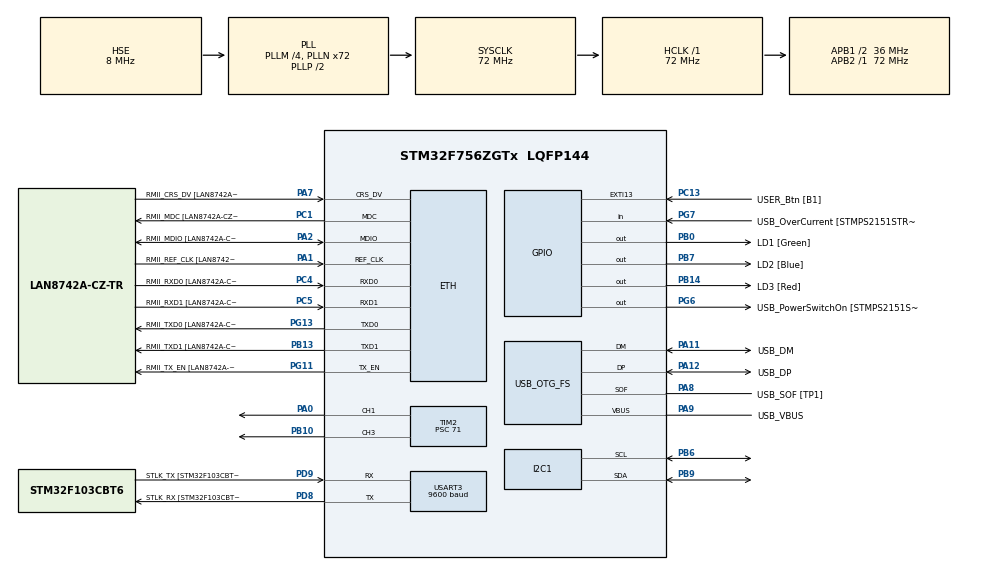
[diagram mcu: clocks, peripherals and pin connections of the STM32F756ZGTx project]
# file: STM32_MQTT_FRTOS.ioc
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CRC.CRCLength=CRC_POLYLENGTH_8B
CRC.DefaultInitValueUse=DEFAULT_INIT_VALUE_DISABLE
CRC.DefaultPolynomialUse=DEFAULT_POLYNOMIAL_DISABLE
ETH.MediaInterface=HAL_ETH_RMII_MODE
ETH.PHY_Name=LAN8742A_PHY_ADDRESS
ETH.PHY_Value=0
ETH.PhyAddress=0
FREERTOS.Tasks01=defaultTask,0,256,StartDefaultTask,Default,NULL,Dynamic,NULL,NULL
FREERTOS.Timers01=Sensors,SensorsCallback,osTimerPeriodic,Default,NULL,Dynamic,NULL
FREERTOS.configUSE_NEWLIB_REENTRANT=1
I2C1.Timing=0x00808CD2
LWIP.BSP.number=1
LWIP.CMSIS_VERSION-Enabled=1
LWIP.GATEWAY_ADDRESS=192.168.113.010
LWIP.IP_ADDRESS=192.168.113.005
LWIP.LWIP_DHCP=0
LWIP.LWIP_HTTPD=0
LWIP.LWIP_SNTP=0
LWIP.MEM_SIZE=10*1024
LWIP.NETMASK_ADDRESS=255.255.255.000
LWIP.Version=v2.1.2_Cube
LWIP0.BSP.STBoard=false
LWIP0.BSP.api=BSP_COMPONENT_DRIVER
LWIP0.BSP.component=LAN8742
LWIP0.BSP.instance=LAN8742
LWIP0.BSP.name=Driver_PHY
LWIP0.BSP.semaphore=S_LAN8742
LWIP0.BSP.solution=LAN8742
Mcu.Family=STM32F7
Mcu.Name=STM32F756ZGTx
Mcu.Package=LQFP144
NVIC.ETH_IRQn=true\:5\:0\:false\:false\:true\:true\:false\:true\:true
NVIC.PriorityGroup=NVIC_PRIORITYGROUP_4
NVIC.TIM2_IRQn=true\:5\:0\:false\:false\:true\:true\:true\:true\:true
NVIC.TIM6_DAC_IRQn=true\:15\:0\:false\:false\:true\:false\:false\:true\:true
NVIC.TimeBase=TIM6_DAC_IRQn
NVIC.TimeBaseIP=TIM6
PA0/WKUP.Signal=S_TIM2_CH1_ETR
PA1.GPIO_Label=RMII_REF_CLK [LAN8742A-CZ-TR_REFCLK0]
PA1.Mode=RMII
PA1.Signal=ETH_REF_CLK
PA10.GPIO_Label=USB_ID
PA10.Signal=USB_OTG_FS_ID
PA11.GPIO_Label=USB_DM
PA11.Mode=Device_Only
PA11.Signal=USB_OTG_FS_DM
PA12.GPIO_Label=USB_DP
PA12.Mode=Device_Only
PA12.Signal=USB_OTG_FS_DP
PA13.GPIO_Label=TMS
PA13.Mode=Serial_Wire
PA13.Signal=SYS_JTMS-SWDIO
PA14.GPIO_Label=TCK
PA14.Mode=Serial_Wire
PA14.Signal=SYS_JTCK-SWCLK
PA2.GPIO_Label=RMII_MDIO [LAN8742A-CZ-TR_MDIO]
PA2.Mode=RMII
PA2.Signal=ETH_MDIO
PA7.GPIO_Label=RMII_CRS_DV [LAN8742A-CZ-TR_CRS_DV]
PA7.Mode=RMII
PA7.Signal=ETH_CRS_DV
PA8.GPIO_Label=USB_SOF [TP1]
PA8.Mode=Activate_SOF_FS
PA8.Signal=USB_OTG_FS_SOF
PA9.GPIO_Label=USB_VBUS
PA9.Mode=Activate_VBUS
PA9.Signal=USB_OTG_FS_VBUS
PB0.GPIO_Label=LD1 [Green]
PB0.Signal=GPIO_Output
PB10.Signal=S_TIM2_CH3
PB13.GPIO_Label=RMII_TXD1 [LAN8742A-CZ-TR_TXD1]
PB13.Mode=RMII
PB13.Signal=ETH_TXD1
PB14.GPIO_Label=LD3 [Red]
PB14.Signal=GPIO_Output
PB3.GPIO_Label=SW0
PB3.Signal=SYS_JTDO-SWO
PB6.Mode=I2C
PB6.Signal=I2C1_SCL
PB7.GPIO_Label=LD2 [Blue]
PB7.Signal=GPIO_Output
PB9.Mode=I2C
PB9.Signal=I2C1_SDA
PC1.GPIO_Label=RMII_MDC [LAN8742A-CZ-TR_MDC]
PC1.Mode=RMII
PC1.Signal=ETH_MDC
PC13.GPIO_Label=USER_Btn [B1]
PC13.Signal=GPXTI13
PC14/OSC32_IN.Mode=LSE-External-Oscillator
PC14/OSC32_IN.Signal=RCC_OSC32_IN
PC15/OSC32_OUT.Mode=LSE-External-Oscillator
PC15/OSC32_OUT.Signal=RCC_OSC32_OUT
PC4.GPIO_Label=RMII_RXD0 [LAN8742A-CZ-TR_RXD0]
PC4.Mode=RMII
PC4.Signal=ETH_RXD0
PC5.GPIO_Label=RMII_RXD1 [LAN8742A-CZ-TR_RXD1]
PC5.Mode=RMII
PC5.Signal=ETH_RXD1
PD8.GPIO_Label=STLK_RX [STM32F103CBT6_PA3]
PD8.Mode=Asynchronous
PD8.Signal=USART3_TX
PD9.GPIO_Label=STLK_TX [STM32F103CBT6_PA2]
PD9.Mode=Asynchronous
PD9.Signal=USART3_RX
PG11.GPIO_Label=RMII_TX_EN [LAN8742A-CZ-TR_TXEN]
PG11.Mode=RMII
PG11.Signal=ETH_TX_EN
PG13.GPIO_Label=RMII_TXD0 [LAN8742A-CZ-TR_TXD0]
PG13.Mode=RMII
PG13.Signal=ETH_TXD0
PG6.GPIO_Label=USB_PowerSwitchOn [STMPS2151STR_EN]
PG6.Signal=GPIO_Output
PG7.GPIO_Label=USB_OverCurrent [STMPS2151STR_FAULT]
PG7.Signal=GPIO_Input
PH0/OSC_IN.GPIO_Label=MCO [STM32F103CBT6_PA8]
PH0/OSC_IN.Mode=HSE-External-Clock-Source
PH0/OSC_IN.Signal=RCC_OSC_IN
PH1/OSC_OUT.Mode=HSE-External-Clock-Source
PH1/OSC_OUT.Signal=RCC_OSC_OUT
ProjectManager.HeapSize=0x200
ProjectManager.StackSize=0x400
ProjectManager.TargetToolchain=STM32CubeIDE
RCC.48MHZClocksFreq_Value=24000000
RCC.AHBFreq_Value=72000000
RCC.APB1CLKDivider=RCC_HCLK_DIV2
RCC.APB1Freq_Value=36000000
RCC.APB1TimFreq_Value=72000000
RCC.APB2Freq_Value=72000000
RCC.APB2TimFreq_Value=72000000
RCC.CortexFreq_Value=72000000
RCC.HCLKFreq_Value=72000000
RCC.HSE_VALUE=8000000
RCC.HSI_VALUE=16000000
RCC.PLLM=4
RCC.PLLMUL=RCC_PLL_MUL9
RCC.PLLN=72
RCC.PLLQ=3
RCC.PRESCALERUSB=RCC_USBCLKSOURCE_PLL_DIV1_5
RCC.RTCClockSelection=RCC_RTCCLKSOURCE_LSE
RCC.SYSCLKFreq_VALUE=72000000
RCC.SYSCLKSource=RCC_SYSCLKSOURCE_PLLCLK
RCC.SYSCLKSourceVirtual=RCC_SYSCLKSOURCE_PLLCLK
RCC.USBFreq_Value=48000000
RCC.VCOOutputFreq_Value=144000000
SH.S_TIM2_CH1_ETR.0=TIM2_CH1,PWM Generation1 CH1
SH.S_TIM2_CH3.0=TIM2_CH3,PWM Generation3 CH3
TIM2.Channel-PWM\ Generation1\ CH1=TIM_CHANNEL_1
TIM2.Channel-PWM\ Generation3\ CH3=TIM_CHANNEL_3
TIM2.Period=19999
TIM2.Prescaler=71
TIM2.Pulse-PWM\ Generation3\ CH3=19999
USART3.BaudRate=9600
USART3.VirtualMode-Asynchronous=VM_ASYNC
USB_OTG_FS.VirtualMode=Device_Only
VP_CRC_VS_CRC.Mode=CRC_Activate
VP_FREERTOS_VS_CMSIS_V1.Mode=CMSIS_V1
VP_LWIP_VS_Enabled.Mode=Enabled
VP_RTC_VS_RTC_Activate.Mode=RTC_Enabled
VP_SYS_VS_tim6.Mode=TIM6
VP_TIM2_VS_ClockSourceINT.Mode=Internal
board=NUCLEO-F756ZG

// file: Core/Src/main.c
/* USER CODE BEGIN Header */
/**
  ******************************************************************************
  * @file           : main.c
  * @brief          : Main program body
  ******************************************************************************
  * @attention
  *
  * Copyright (c) 2023 STMicroelectronics.
  * All rights reserved.
  *
  * This software is licensed under terms that can be found in the LICENSE file
  * in the root directory of this software component.
  * If no LICENSE file comes with this software, it is provided AS-IS.
  *
  ******************************************************************************
  */
/* USER CODE END Header */
#include "main.h"
#include "cmsis_os.h"
#include "crc.h"
#include "i2c.h"
#include "lwip.h"
#include "rtc.h"
#include "tim.h"
#include "usart.h"
#include "usb_otg.h"
#include "gpio.h"

/* USER CODE BEGIN Includes */
#include "BH1750.h"
#include "BMP280.h"
/* USER CODE END Includes */

void SystemClock_Config(void);
void MX_FREERTOS_Init(void);

int main(void)
{

  /* MCU Configuration--------------------------------------------------------*/

  /* Reset of all peripherals, Initializes the Flash interface and the Systick. */
  HAL_Init();

  /* Configure the system clock */
  SystemClock_Config();

  /* Initialize all configured peripherals */
  MX_GPIO_Init();
  MX_USART3_UART_Init();
  MX_USB_OTG_FS_PCD_Init();
  MX_TIM2_Init();
  MX_CRC_Init();
  MX_I2C1_Init();
  MX_RTC_Init();

  /* Call init function for freertos objects (in freertos.c) */
  MX_FREERTOS_Init();

  /* Start scheduler */
  osKernelStart();

  /* We should never get here as control is now taken by the scheduler */
  /* Infinite loop */
  while (1)
  {

  }
}

void SystemClock_Config(void)
{
  RCC_OscInitTypeDef RCC_OscInitStruct = {0};
  RCC_ClkInitTypeDef RCC_ClkInitStruct = {0};

  /** Configure LSE Drive Capability
  */
  HAL_PWR_EnableBkUpAccess();
  __HAL_RCC_LSEDRIVE_CONFIG(RCC_LSEDRIVE_LOW);

  /** Configure the main internal regulator output voltage
  */
  __HAL_RCC_PWR_CLK_ENABLE();
  __HAL_PWR_VOLTAGESCALING_CONFIG(PWR_REGULATOR_VOLTAGE_SCALE3);

  /** Initializes the RCC Oscillators according to the specified parameters
  * in the RCC_OscInitTypeDef structure.
  */
  RCC_OscInitStruct.OscillatorType = RCC_OSCILLATORTYPE_HSE|RCC_OSCILLATORTYPE_LSE;
  RCC_OscInitStruct.HSEState = RCC_HSE_BYPASS;
  RCC_OscInitStruct.LSEState = RCC_LSE_ON;
  RCC_OscInitStruct.PLL.PLLState = RCC_PLL_ON;
  RCC_OscInitStruct.PLL.PLLSource = RCC_PLLSOURCE_HSE;
  RCC_OscInitStruct.PLL.PLLM = 4;
  RCC_OscInitStruct.PLL.PLLN = 72;
  RCC_OscInitStruct.PLL.PLLP = RCC_PLLP_DIV2;
  RCC_OscInitStruct.PLL.PLLQ = 3;
  if (HAL_RCC_OscConfig(&RCC_OscInitStruct) != HAL_OK)
  {
    Error_Handler();
  }

  /** Initializes the CPU, AHB and APB buses clocks
  */
  RCC_ClkInitStruct.ClockType = RCC_CLOCKTYPE_HCLK|RCC_CLOCKTYPE_SYSCLK
                              |RCC_CLOCKTYPE_PCLK1|RCC_CLOCKTYPE_PCLK2;
  RCC_ClkInitStruct.SYSCLKSource = RCC_SYSCLKSOURCE_PLLCLK;
  RCC_ClkInitStruct.AHBCLKDivider = RCC_SYSCLK_DIV1;
  RCC_ClkInitStruct.APB1CLKDivider = RCC_HCLK_DIV2;
  RCC_ClkInitStruct.APB2CLKDivider = RCC_HCLK_DIV1;

  if (HAL_RCC_ClockConfig(&RCC_ClkInitStruct, FLASH_LATENCY_2) != HAL_OK)
  {
    Error_Handler();
  }
}

void HAL_TIM_PeriodElapsedCallback(TIM_HandleTypeDef *htim)
{
  if (htim->Instance == TIM6) {
    HAL_IncTick();
  }
}

void Error_Handler(void)
{
  __disable_irq();
  while (1)
  {
  }
}

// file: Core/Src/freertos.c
/* USER CODE BEGIN Header */
/**
  ******************************************************************************
  * File Name          : freertos.c
  * Description        : Code for freertos applications
  ******************************************************************************
  * @attention
  *
  * Copyright (c) 2023 STMicroelectronics.
  * All rights reserved.
  *
  * This software is licensed under terms that can be found in the LICENSE file
  * in the root directory of this software component.
  * If no LICENSE file comes with this software, it is provided AS-IS.
  *
  ******************************************************************************
  */
/* USER CODE END Header */

#include "FreeRTOS.h"
#include "task.h"
#include "main.h"
#include "cmsis_os.h"

/* USER CODE BEGIN Includes */
#include "BH1750.h"
#include "BMP280.h"
#include "lwip/apps/mqtt.h"
#include "lwip_mqtt.h"
/* USER CODE END Includes */

/* USER CODE BEGIN PTD */
BMP280_typedef BMP280;
mqtt_client_t *client;
char buf[1000];
char client_id[50];
char sub_on_connect[100];
/* USER CODE END PTD */

osThreadId defaultTaskHandle;
osTimerId SensorsHandle;

void StartDefaultTask(void const * argument);
void SensorsCallback(void const * argument);

extern void MX_LWIP_Init(void);
void MX_FREERTOS_Init(void); /* (MISRA C 2004 rule 8.1) */

/* GetIdleTaskMemory prototype (linked to static allocation support) */
void vApplicationGetIdleTaskMemory( StaticTask_t **ppxIdleTaskTCBBuffer, StackType_t **ppxIdleTaskStackBuffer, uint32_t *pulIdleTaskStackSize );

/* USER CODE BEGIN GET_IDLE_TASK_MEMORY */
static StaticTask_t xIdleTaskTCBBuffer;
static StackType_t xIdleStack[configMINIMAL_STACK_SIZE];

void vApplicationGetIdleTaskMemory( StaticTask_t **ppxIdleTaskTCBBuffer, StackType_t **ppxIdleTaskStackBuffer, uint32_t *pulIdleTaskStackSize )
{
  *ppxIdleTaskTCBBuffer = &xIdleTaskTCBBuffer;
  *ppxIdleTaskStackBuffer = &xIdleStack[0];
  *pulIdleTaskStackSize = configMINIMAL_STACK_SIZE;
  /* place for user code */
}
/* USER CODE END GET_IDLE_TASK_MEMORY */

void MX_FREERTOS_Init(void) {

  /* Create the timer(s) */
  /* definition and creation of Sensors */
  osTimerDef(Sensors, SensorsCallback);
  SensorsHandle = osTimerCreate(osTimer(Sensors), osTimerPeriodic, NULL);

  /* Create the thread(s) */
  /* definition and creation of defaultTask */
  osThreadDef(defaultTask, StartDefaultTask, osPriorityNormal, 0, 256);
  defaultTaskHandle = osThreadCreate(osThread(defaultTask), NULL);

}

void StartDefaultTask(void const * argument)
{
  /* init code for LWIP */
  MX_LWIP_Init();
  for(;;)
  {
    osDelay(1);
  }
}

/* SensorsCallback function */
void SensorsCallback(void const * argument)
{
  /* USER CODE BEGIN SensorsCallback */
	BMP280ReadTemp(&BMP280);
	int len = sprintf(buf, "{\"temp\":%f} \n",BMP280.temp);
	if (mqtt_client_is_connected(client)) {
					example_publish(client, "Sensors", buf);
				}
  /* USER CODE END SensorsCallback */
}
